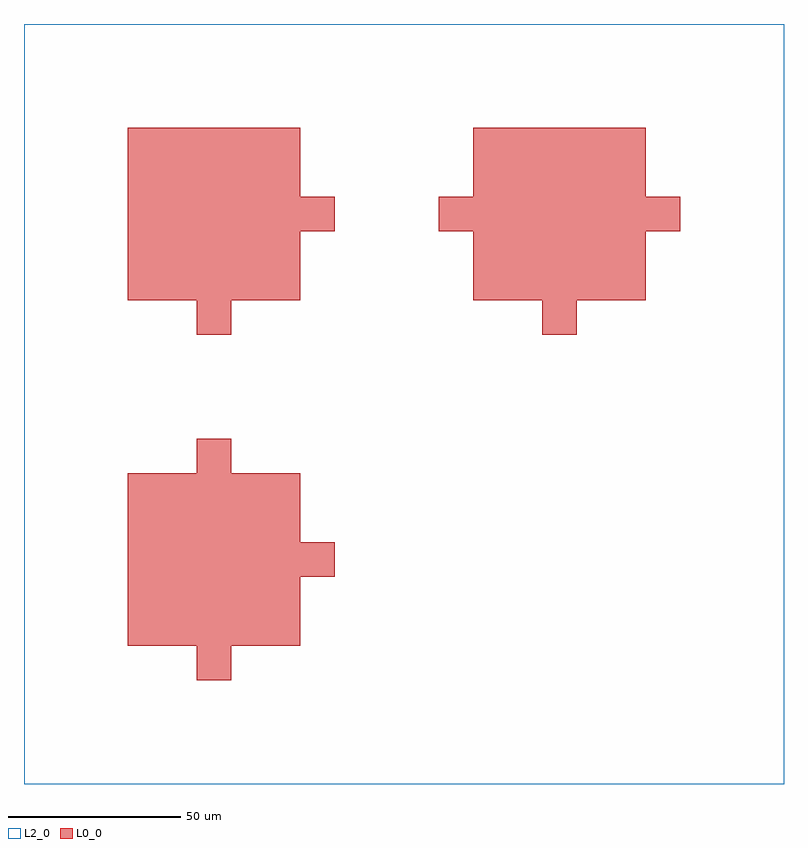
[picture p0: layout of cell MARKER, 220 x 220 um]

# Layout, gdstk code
import gdstk
lib = gdstk.Library(unit=1e-6, precision=1e-09)
def R(c, l, rs):  # rectangles x0, y0, x1, y1
    for r in rs: c.add(gdstk.rectangle(r[:2], r[2:], *l))
L0_0 = (0, 0)
L2_0 = (2, 0)

marker = lib.new_cell('MARKER')
R(marker, L0_0, [(-60,-80,-50,-70), (-80,-70,-30,-20), (-30,-50,-20,-40), (-60,-20,-50,-10), (-60,20,-50,30), (40,20,50,30), (-80,30,-30,80), (20,30,70,80), (-30,50,-20,60), (10,50,20,60), (70,50,80,60)])
R(marker, L2_0, [(-110,-110,110,110)])

lib.write_gds('MARKER.gds')
